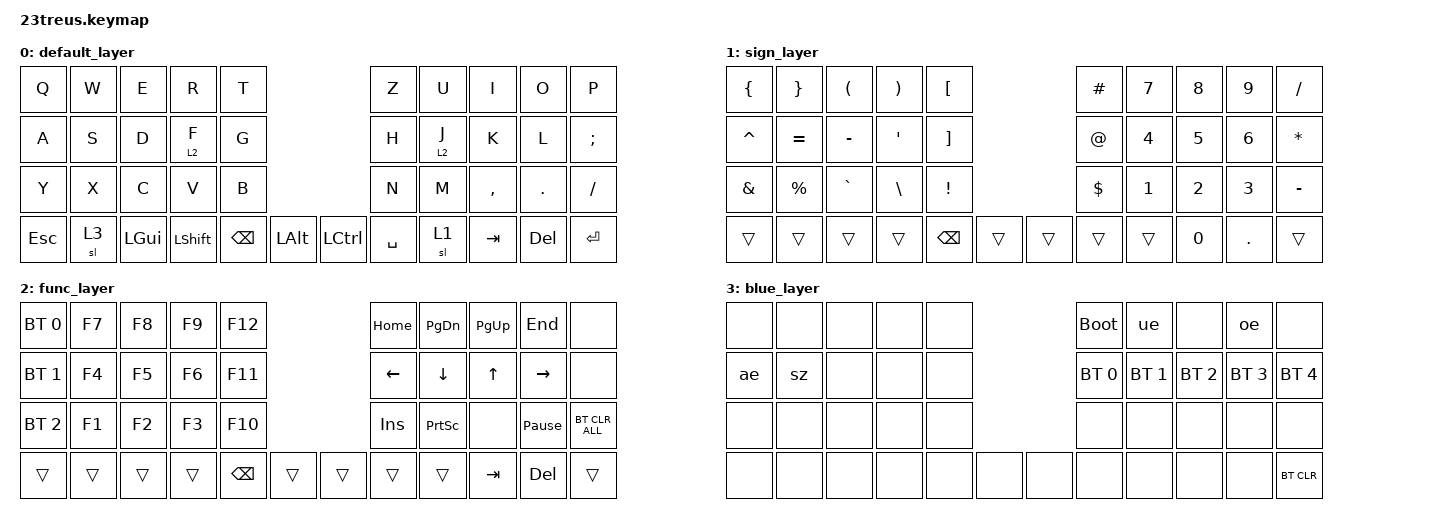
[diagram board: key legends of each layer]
#include <behaviors.dtsi>
#include <dt-bindings/zmk/keys.h>
#include <dt-bindings/zmk/bt.h>

#define BT0 &bt BT_SEL 0
#define BT1 &bt BT_SEL 1
#define BT2 &bt BT_SEL 2
#define BT3 &bt BT_SEL 3
#define BT4 &bt BT_SEL 4

/ {

    combos {
        compatible = "zmk,combos";
        combo_sl1_left {
            timeout-ms = <50>;
            key-positions = <12 13>;
            bindings = <&sl 1>;
        };
        combo_sl1_right {
            timeout-ms = <50>;
            key-positions = <16 17>;
            bindings = <&sl 1>;
        };
        combo_boot {
            timeout-ms = <50>;
            key-positions = <30 41>;
            bindings = <&sl 1>;
        };
        combo_blue {
            timeout-ms = <50>;
            key-positions = <30 31 32>;
            bindings = <&sl 3>;
        };
    };

    behaviors {
        hm: homerow_mods {
	    compatible = "zmk,behavior-hold-tap";
	    label = "HOMEROW_MODS";
            #binding-cells = <2>;
	    flavor = "tap-preferred";
	    tapping-term-ms = <200>;
	    quick-tap-ms = <0>;
	    bindings = <&sl>, <&kp>;
        };
    };

    macros {
        ae: ae {
            compatible = "zmk,behavior-macro";
            #binding-cells = <0>;
            bindings = <&macro_tap &kp PAUSE_BREAK &kp DQT &kp A>;
        };
        oe: oe {
            compatible = "zmk,behavior-macro";
            #binding-cells = <0>;
            bindings = <&macro_tap &kp PAUSE_BREAK &kp DQT &kp O>;
        };
        ue: ue {
            compatible = "zmk,behavior-macro";
            #binding-cells = <0>;
            bindings = <&macro_tap &kp PAUSE_BREAK &kp DQT &kp U>;
        };
        sz: sz {
            compatible = "zmk,behavior-macro";
            #binding-cells = <0>;
            bindings = <&macro_tap &kp PAUSE_BREAK &kp S &kp S>;
        };
    };

    keymap {
        compatible = "zmk,keymap";

        default_layer {
            bindings = <
            &kp Q    &kp W  &kp E     &kp R      &kp T                          &kp Z      &kp U    &kp I      &kp O    &kp P
            &kp A    &kp S  &kp D     &hm 2 F    &kp G                          &kp H      &hm 2 J  &kp K      &kp L    &kp SEMI
            &kp Y    &kp X  &kp C     &kp V      &kp B                          &kp N      &kp M    &kp COMMA  &kp DOT  &kp SLASH
            &kp ESC  &sl 3  &kp LGUI  &kp LSHFT  &kp BSPC  &kp LALT  &kp LCTRL  &kp SPACE  &sl 1    &kp TAB    &kp DEL  &kp RET
            >;
        };

        sign_layer {
            bindings = <
            &kp LBRC   &kp RBRC   &kp LPAR   &kp RPAR   &kp LBKT                  &kp HASH  &kp N7  &kp N8  &kp N9   &kp SLASH
            &kp CARET  &kp EQUAL  &kp MINUS  &kp SQT    &kp RBKT                  &kp AT    &kp N4  &kp N5  &kp N6   &kp STAR
            &kp AMPS   &kp PRCNT  &kp GRAVE  &kp BSLH   &kp EXCL                  &kp DLLR  &kp N1  &kp N2  &kp N3   &kp MINUS
            &trans     &trans     &trans     &trans     &kp BSPC  &trans  &trans  &trans    &trans  &kp N0  &kp DOT  &trans
            >;
        };

        func_layer {
            bindings = <
            BT0     &kp F7  &kp F8  &kp F9  &kp F12                   &kp HOME  &kp PG_DN  &kp PG_UP  &kp END          &none
            BT1     &kp F4  &kp F5  &kp F6  &kp F11                   &kp LEFT  &kp DOWN   &kp UP     &kp RIGHT        &none
            BT2     &kp F1  &kp F2  &kp F3  &kp F10                   &kp INS   &kp PSCRN  &none      &kp PAUSE_BREAK  &bt BT_CLR_ALL
            &trans  &trans  &trans  &trans  &kp BSPC  &trans  &trans  &trans    &trans     &kp TAB    &kp DEL          &trans
            >;
        };

        blue_layer {
            bindings = <
            &none &none &none &none &none             &bootloader &ue   &none &oe   &none
            &ae   &sz   &none &none &none             BT0         BT1   BT2   BT3   BT4
            &none &none &none &none &none             &none       &none &none &none &none
            &none &none &none &none &none &none &none &none       &none &none &none &bt BT_CLR
            >;
        };
    };
};
